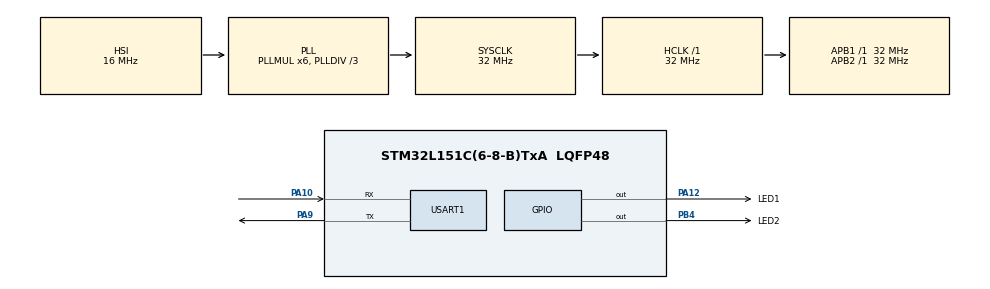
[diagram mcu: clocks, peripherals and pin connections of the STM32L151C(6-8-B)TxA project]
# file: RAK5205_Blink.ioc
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Mcu.Family=STM32L1
Mcu.Name=STM32L151C(6-8-B)TxA
Mcu.Package=LQFP48
NVIC.PriorityGroup=NVIC_PRIORITYGROUP_4
PA10.Mode=Asynchronous
PA10.Signal=USART1_RX
PA12.GPIO_Label=LED1
PA12.PinState=GPIO_PIN_SET
PA12.Signal=GPIO_Output
PA13.Mode=Serial_Wire
PA13.Signal=SYS_JTMS-SWDIO
PA14.Mode=Serial_Wire
PA14.Signal=SYS_JTCK-SWCLK
PA9.Mode=Asynchronous
PA9.Signal=USART1_TX
PB4.GPIO_Label=LED2
PB4.PinState=GPIO_PIN_SET
PB4.Signal=GPIO_Output
PC14-OSC32_IN.Mode=LSE-External-Oscillator
PC14-OSC32_IN.Signal=RCC_OSC32_IN
PC15-OSC32_OUT.Mode=LSE-External-Oscillator
PC15-OSC32_OUT.Signal=RCC_OSC32_OUT
ProjectManager.HeapSize=0x200
ProjectManager.StackSize=0x400
ProjectManager.TargetToolchain=SW4STM32
RCC.48MHZClocksFreq_Value=48000000
RCC.AHBFreq_Value=32000000
RCC.APB1Freq_Value=32000000
RCC.APB1TimFreq_Value=32000000
RCC.APB2Freq_Value=32000000
RCC.APB2TimFreq_Value=32000000
RCC.HCLKFreq_Value=32000000
RCC.HSE_VALUE=24000000
RCC.HSI_VALUE=16000000
RCC.MSI_VALUE=2097000
RCC.PLLDIV=RCC_PLL_DIV3
RCC.PLLMUL=RCC_PLL_MUL6
RCC.SYSCLKFreq_VALUE=32000000
RCC.SYSCLKSource=RCC_SYSCLKSOURCE_PLLCLK
RCC.VCOOutputFreq_Value=96000000
USART1.VirtualMode=VM_ASYNC
board=custom

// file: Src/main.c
/* USER CODE BEGIN Header */
/**
  ******************************************************************************
  * @file           : main.c
  * @brief          : Main program body
  ******************************************************************************
  ** This notice applies to any and all portions of this file
  * that are not between comment pairs USER CODE BEGIN and
  * USER CODE END. Other portions of this file, whether
  * inserted by the user or by software development tools
  * are owned by their respective copyright owners.
  *
  * COPYRIGHT(c) 2018 STMicroelectronics
  *
  * Redistribution and use in source and binary forms, with or without modification,
  * are permitted provided that the following conditions are met:
  *   1. Redistributions of source code must retain the above copyright notice,
  *      this list of conditions and the following disclaimer.
  *   2. Redistributions in binary form must reproduce the above copyright notice,
  *      this list of conditions and the following disclaimer in the documentation
  *      and/or other materials provided with the distribution.
  *   3. Neither the name of STMicroelectronics nor the names of its contributors
  *      may be used to endorse or promote products derived from this software
  *      without specific prior written permission.
  *
  * THIS SOFTWARE IS PROVIDED BY THE COPYRIGHT HOLDERS AND CONTRIBUTORS "AS IS"
  * AND ANY EXPRESS OR IMPLIED WARRANTIES, INCLUDING, BUT NOT LIMITED TO, THE
  * IMPLIED WARRANTIES OF MERCHANTABILITY AND FITNESS FOR A PARTICULAR PURPOSE ARE
  * DISCLAIMED. IN NO EVENT SHALL THE COPYRIGHT HOLDER OR CONTRIBUTORS BE LIABLE
  * FOR ANY DIRECT, INDIRECT, INCIDENTAL, SPECIAL, EXEMPLARY, OR CONSEQUENTIAL
  * DAMAGES (INCLUDING, BUT NOT LIMITED TO, PROCUREMENT OF SUBSTITUTE GOODS OR
  * SERVICES; LOSS OF USE, DATA, OR PROFITS; OR BUSINESS INTERRUPTION) HOWEVER
  * CAUSED AND ON ANY THEORY OF LIABILITY, WHETHER IN CONTRACT, STRICT LIABILITY,
  * OR TORT (INCLUDING NEGLIGENCE OR OTHERWISE) ARISING IN ANY WAY OUT OF THE USE
  * OF THIS SOFTWARE, EVEN IF ADVISED OF THE POSSIBILITY OF SUCH DAMAGE.
  *
  ******************************************************************************
  */
/* USER CODE END Header */

#include "main.h"

UART_HandleTypeDef huart1;

void SystemClock_Config(void);
static void MX_GPIO_Init(void);
static void MX_USART1_UART_Init(void);

int main(void)
{
  /* USER CODE BEGIN 1 */
	uint8_t ledCnt =0;
	GPIO_PinState ledState;
  /* USER CODE END 1 */

  /* MCU Configuration--------------------------------------------------------*/

  /* Reset of all peripherals, Initializes the Flash interface and the Systick. */
  HAL_Init();

  /* Configure the system clock */
  SystemClock_Config();

  /* Initialize all configured peripherals */
  MX_GPIO_Init();
  MX_USART1_UART_Init();
  /* USER CODE BEGIN 2 */

  printf("Make the two LEDs blink on the Wis-Trio LoRa (RAK5205) tracker board\r\n");
  printf("Uli Raich, 11.12.2018\r\n");
  printf("This program is part of the UCC LoRa project\r\n");
  printf("University of Cape Coast, Cape Coast, Ghana\r\n");
  printf("Released under GPL\r\n");

  /* USER CODE END 2 */

  /* Infinite loop */
  /* USER CODE BEGIN WHILE */
  while (1)
  {
	  HAL_Delay(1000);
	  ledState = (ledCnt & 1) ? GPIO_PIN_RESET: GPIO_PIN_SET;
	  HAL_GPIO_WritePin(LED1_GPIO_Port, LED1_Pin,ledState);
	  ledState = (ledCnt & 2) ? GPIO_PIN_RESET: GPIO_PIN_SET;
	  HAL_GPIO_WritePin(LED2_GPIO_Port, LED2_Pin,ledState);
	  ledCnt ++;
	  if (ledCnt > 3)
		  ledCnt = 0;

    /* USER CODE END WHILE */

  }
}

void SystemClock_Config(void)
{
  RCC_OscInitTypeDef RCC_OscInitStruct = {0};
  RCC_ClkInitTypeDef RCC_ClkInitStruct = {0};

  /**Configure the main internal regulator output voltage
  */
  __HAL_PWR_VOLTAGESCALING_CONFIG(PWR_REGULATOR_VOLTAGE_SCALE1);
  /**Initializes the CPU, AHB and APB busses clocks
  */
  RCC_OscInitStruct.OscillatorType = RCC_OSCILLATORTYPE_HSI;
  RCC_OscInitStruct.HSIState = RCC_HSI_ON;
  RCC_OscInitStruct.HSICalibrationValue = RCC_HSICALIBRATION_DEFAULT;
  RCC_OscInitStruct.PLL.PLLState = RCC_PLL_ON;
  RCC_OscInitStruct.PLL.PLLSource = RCC_PLLSOURCE_HSI;
  RCC_OscInitStruct.PLL.PLLMUL = RCC_PLL_MUL6;
  RCC_OscInitStruct.PLL.PLLDIV = RCC_PLL_DIV3;
  if (HAL_RCC_OscConfig(&RCC_OscInitStruct) != HAL_OK)
  {
    Error_Handler();
  }
  /**Initializes the CPU, AHB and APB busses clocks
  */
  RCC_ClkInitStruct.ClockType = RCC_CLOCKTYPE_HCLK|RCC_CLOCKTYPE_SYSCLK
                              |RCC_CLOCKTYPE_PCLK1|RCC_CLOCKTYPE_PCLK2;
  RCC_ClkInitStruct.SYSCLKSource = RCC_SYSCLKSOURCE_PLLCLK;
  RCC_ClkInitStruct.AHBCLKDivider = RCC_SYSCLK_DIV1;
  RCC_ClkInitStruct.APB1CLKDivider = RCC_HCLK_DIV1;
  RCC_ClkInitStruct.APB2CLKDivider = RCC_HCLK_DIV1;

  if (HAL_RCC_ClockConfig(&RCC_ClkInitStruct, FLASH_LATENCY_1) != HAL_OK)
  {
    Error_Handler();
  }
}

static void MX_USART1_UART_Init(void)
{

  huart1.Instance = USART1;
  huart1.Init.BaudRate = 115200;
  huart1.Init.WordLength = UART_WORDLENGTH_8B;
  huart1.Init.StopBits = UART_STOPBITS_1;
  huart1.Init.Parity = UART_PARITY_NONE;
  huart1.Init.Mode = UART_MODE_TX_RX;
  huart1.Init.HwFlowCtl = UART_HWCONTROL_NONE;
  huart1.Init.OverSampling = UART_OVERSAMPLING_16;
  if (HAL_UART_Init(&huart1) != HAL_OK)
  {
    Error_Handler();
  }

}

static void MX_GPIO_Init(void)
{
  GPIO_InitTypeDef GPIO_InitStruct = {0};

  /* GPIO Ports Clock Enable */
  __HAL_RCC_GPIOC_CLK_ENABLE();
  __HAL_RCC_GPIOA_CLK_ENABLE();
  __HAL_RCC_GPIOB_CLK_ENABLE();

  /*Configure GPIO pin Output Level */
  HAL_GPIO_WritePin(LED1_GPIO_Port, LED1_Pin, GPIO_PIN_SET);

  /*Configure GPIO pin Output Level */
  HAL_GPIO_WritePin(LED2_GPIO_Port, LED2_Pin, GPIO_PIN_SET);

  /*Configure GPIO pin : LED1_Pin */
  GPIO_InitStruct.Pin = LED1_Pin;
  GPIO_InitStruct.Mode = GPIO_MODE_OUTPUT_PP;
  GPIO_InitStruct.Pull = GPIO_NOPULL;
  GPIO_InitStruct.Speed = GPIO_SPEED_FREQ_LOW;
  HAL_GPIO_Init(LED1_GPIO_Port, &GPIO_InitStruct);

  /*Configure GPIO pin : LED2_Pin */
  GPIO_InitStruct.Pin = LED2_Pin;
  GPIO_InitStruct.Mode = GPIO_MODE_OUTPUT_PP;
  GPIO_InitStruct.Pull = GPIO_NOPULL;
  GPIO_InitStruct.Speed = GPIO_SPEED_FREQ_LOW;
  HAL_GPIO_Init(LED2_GPIO_Port, &GPIO_InitStruct);

}

void Error_Handler(void)
{
}

/************************ (C) COPYRIGHT STMicroelectronics *****END OF FILE****/
